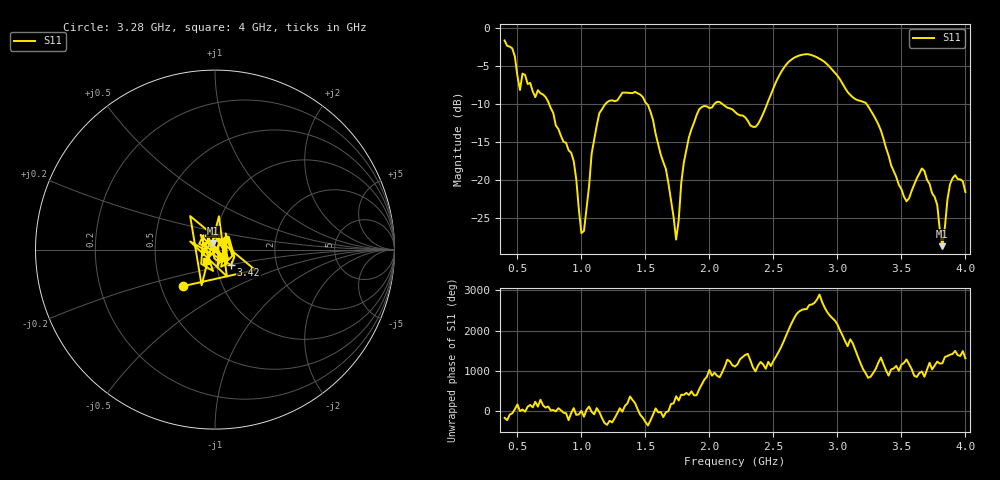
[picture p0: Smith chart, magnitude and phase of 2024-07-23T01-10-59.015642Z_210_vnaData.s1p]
!Created with skrf (http://scikit-rf.org).
# Hz S RI R 50.0
!freq ReS11 ImS11
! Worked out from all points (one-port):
!   181 points, 400 MHz to 4 GHz, reference 50 ohm
!   lowest |S11| = -28.7 dB at 3.82 GHz (marker M1), VSWR 1.08, Z = 48.8 + j3.43 ohm
!   |S11| at or under -10 dB: 747.8 MHz to 1.188 GHz (439.8 MHz wide, 45.5 % of centre); 1.513 GHz to 2.038 GHz (525.5 MHz wide, 29.6 % of centre); 3.228 GHz to end of sweep (the widest 3 of 4)
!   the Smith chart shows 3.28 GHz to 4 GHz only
!   S11 on the Smith chart (normalised r, x): 3.28 GHz: 0.65, -0.29; 3.42 GHz: 1.18, -0.21; 4 GHz: 0.89, -0.12
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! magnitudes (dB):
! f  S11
! 400 MHz  -1.6
! 480 MHz  -3.8
! 520 MHz  -8.2
! 540 MHz  -6.0
! 720 MHz  -9.1
! 860 MHz  -15.0
! 940 MHz  -17.5
! 1 GHz  -26.9
! 1.14 GHz  -11.2
! 1.3 GHz  -9.0
! 1.52 GHz  -10.1
! 1.66 GHz  -18.5
! 1.74 GHz  -27.8
! 1.76 GHz  -25.3
! 1.8 GHz  -17.7
! 1.92 GHz  -10.7
! 2.2 GHz  -11.0
! 2.36 GHz  -13.0
! 2.66 GHz  -3.9
! 3.1 GHz  -8.8
! 3.28 GHz  -11.4
! 3.42 GHz  -18.0
! 3.56 GHz  -22.4
! 3.68 GHz  -18.8
! 3.78 GHz  -23.2
! 3.82 GHz  -28.7
! 3.9 GHz  -19.7
! 4 GHz  -21.6
